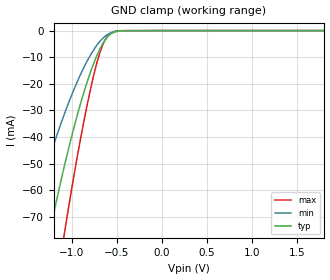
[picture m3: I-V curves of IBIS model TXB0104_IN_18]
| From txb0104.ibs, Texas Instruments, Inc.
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[Model]   TXB0104_IN_18
Model_type  Input
Vinl=0.5775
Vinh=1.2675
| variable   typ   min   max
C_comp   3.03pF   2.64pF   3.31pF
[Temperature Range]   40   100   -40
| Ambient temperature   25   85   -40
[Voltage range]   1.8   1.65   1.95
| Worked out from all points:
|   GND clamp passes 1 mA (typ) near -0.55 V on its own axis
[GND Clamp]
| TXB0104_IN_18
|   Voltage   I(typ)   I(min)   I(max)
-5.5V     -1.044A    -792.2mA   -1.306A
-1.5V     -120.7mA   -77.56mA   -175.7mA
-1.45V    -111.6mA   -71.36mA   -163.1mA
-1.24V    -75.49mA   -47.29mA   -112.2mA
-1.08V    -50.99mA   -31.4mA    -76.39mA
-1.06V    -48.14mA   -29.58mA   -72.15mA
-920mV    -29.8mA    -17.97mA   -44.33mA
-765mV    -13.32mA   -7.821mA   -18.4mA
-660mV    -5.291mA   -3.146mA   -5.95mA
-575mV    -1.539mA   -1.032mA   -1.212mA
-435mV    -65.01uA   -65.03uA   -20.45uA
1.8V      112.9pA    537.9pA    13.45pA
